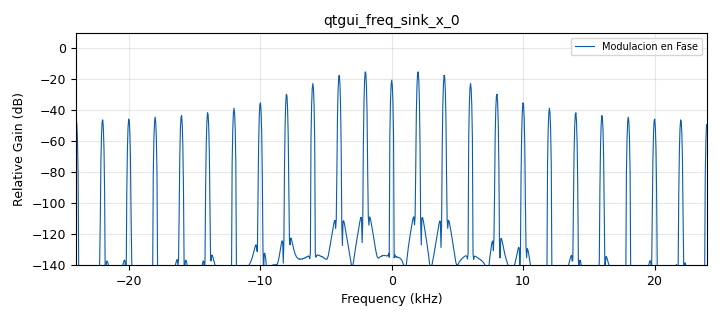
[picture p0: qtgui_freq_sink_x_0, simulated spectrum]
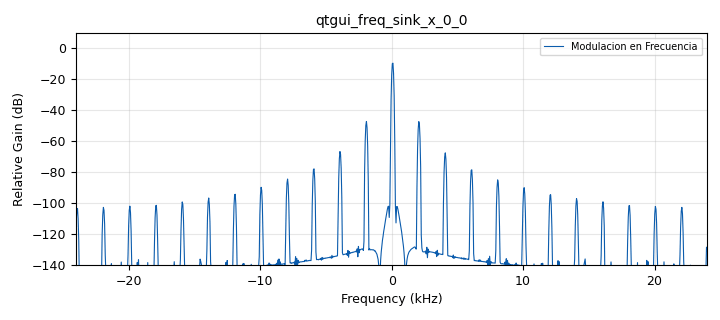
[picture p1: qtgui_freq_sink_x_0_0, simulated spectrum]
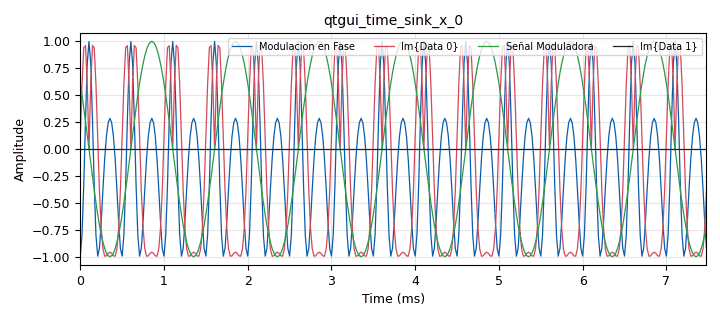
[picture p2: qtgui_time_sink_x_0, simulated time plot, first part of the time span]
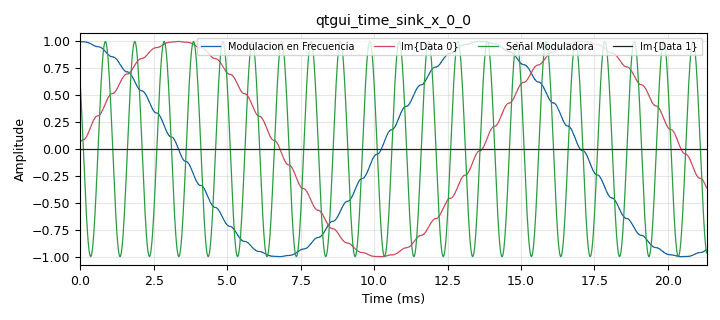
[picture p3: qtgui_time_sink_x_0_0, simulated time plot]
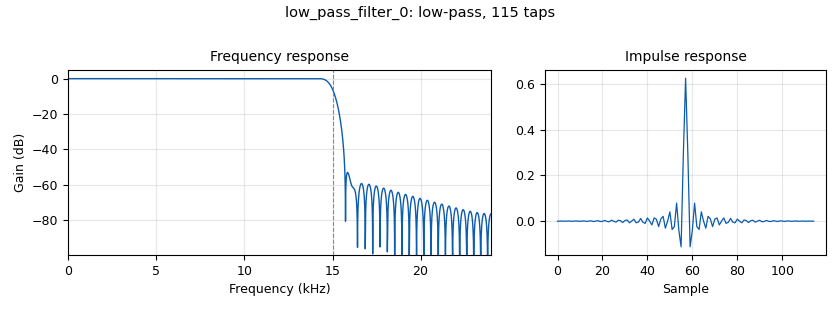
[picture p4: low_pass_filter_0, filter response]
options:
  parameters:
    author: Camila Vinza
    generate_options: qt_gui
    id: FM_vs_PM
    output_language: python
    title: Comparación entre FM y PM
  states: {}

blocks:
- name: samp_rate
  id: variable
  parameters:
    value: 48e3
  states: {}
- name: analog_frequency_modulator_fc_0
  id: analog_frequency_modulator_fc
  parameters:
    comment: MODULACIÓN EN FRECUENCIA
    sensitivity: '15e-3'
  states: {}
- name: analog_phase_modulator_fc_0
  id: analog_phase_modulator_fc
  parameters:
    comment: MODULACIÓN EN FASE
    sensitivity: '5'
  states: {}
- name: analog_sig_source_x_0
  id: analog_sig_source_x
  parameters:
    amp: '1'
    freq: '1000'
    offset: '0'
    phase: '0'
    samp_rate: samp_rate
    type: float
    waveform: analog.GR_COS_WAVE
  states: {}
- name: complex_to_mag_1
  id: blocks_complex_to_mag
  parameters: {}
  states: {}
- name: float_to_complex_1
  id: blocks_float_to_complex
  parameters: {}
  states: {}
- name: low_pass_filter_0
  id: low_pass_filter
  parameters:
    cutoff_freq: 15e3
    decim: '1'
    gain: '1'
    samp_rate: samp_rate
    type: fir_filter_ccf
    width: 1e3
    win: window.WIN_HAMMING
  states: {}
- name: qtgui
  id: qtgui_tab_widget
  parameters:
    label0: Frecuencia
    label1: Fase
    num_tabs: '2'
  states: {}
- name: qtgui_freq_sink_x_0
  id: qtgui_freq_sink_x
  parameters:
    bw: samp_rate
    fc: '0'
    fftsize: '1024'
    gui_hint: 'qtgui@0: 0,0,1,1'
    label1: Modulacion en Fase
    type: complex
  states: {}
- name: qtgui_freq_sink_x_0_0
  id: qtgui_freq_sink_x
  parameters:
    bw: samp_rate
    fc: '0'
    fftsize: '1024'
    gui_hint: 'qtgui@0: 1,0,1,1'
    label1: Modulacion en Frecuencia
    type: complex
  states: {}
- name: qtgui_time_sink_x_0
  id: qtgui_time_sink_x
  parameters:
    ctrlpanel: 'True'
    gui_hint: 'qtgui@1 : 0,0,1,1'
    label1: Modulacion en Fase
    label3: Señal Moduladora
    nconnections: '2'
    size: '1024'
    srate: samp_rate
    type: complex
    update_time: '0.5'
  states: {}
- name: qtgui_time_sink_x_0_0
  id: qtgui_time_sink_x
  parameters:
    ctrlpanel: 'True'
    gui_hint: 'qtgui@1 : 1,0,1,1'
    label1: Modulacion en Frecuencia
    label3: Señal Moduladora
    nconnections: '2'
    size: '1024'
    srate: samp_rate
    type: complex
    update_time: '0.5'
  states: {}

connections:
- [analog_frequency_modulator_fc_0, '0', qtgui_freq_sink_x_0_0, '0']
- [analog_frequency_modulator_fc_0, '0', qtgui_time_sink_x_0_0, '0']
- [analog_phase_modulator_fc_0, '0', qtgui_freq_sink_x_0, '0']
- [analog_phase_modulator_fc_0, '0', qtgui_time_sink_x_0, '0']
- [analog_sig_source_x_0, '0', float_to_complex_1, '0']
- [complex_to_mag_1, '0', analog_frequency_modulator_fc_0, '0']
- [complex_to_mag_1, '0', analog_phase_modulator_fc_0, '0']
- [float_to_complex_1, '0', low_pass_filter_0, '0']
- [low_pass_filter_0, '0', complex_to_mag_1, '0']
- [low_pass_filter_0, '0', qtgui_time_sink_x_0, '1']
- [low_pass_filter_0, '0', qtgui_time_sink_x_0_0, '1']

metadata:
  file_format: 1
  grc_version: 3.10.8.0
